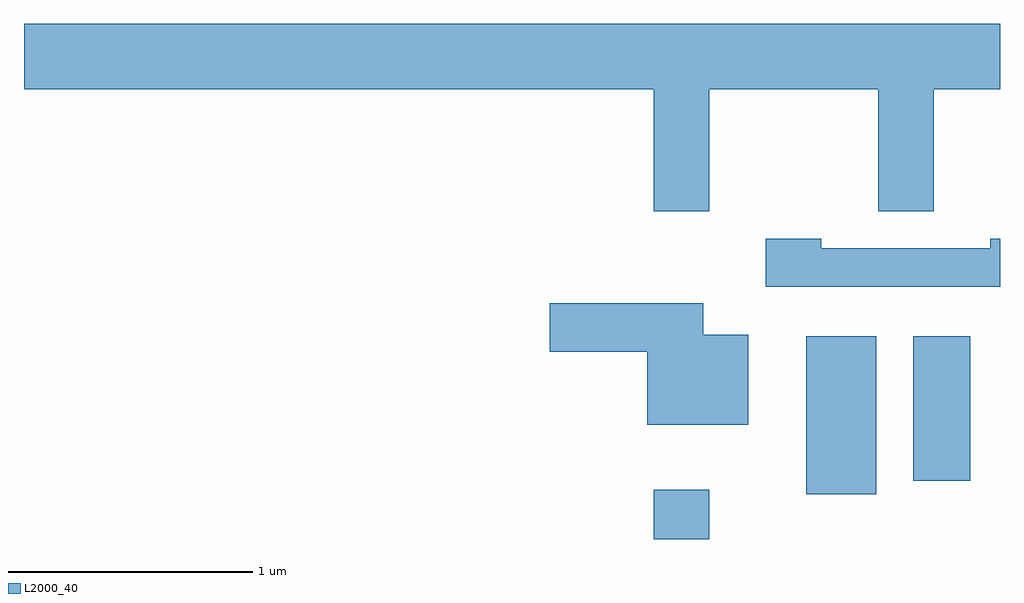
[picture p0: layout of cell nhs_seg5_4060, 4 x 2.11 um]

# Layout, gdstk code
import gdstk
lib = gdstk.Library(unit=1e-6, precision=1e-09)
def R(c, l, rs):  # rectangles x0, y0, x1, y1
    for r in rs: c.add(gdstk.rectangle(r[:2], r[2:], *l))
def P(c, l, *ps):  # polygons
    for p in ps: c.add(gdstk.Polygon(p, *l))
L2000_40 = (2000, 40)

nhs_seg5_4060 = lib.new_cell('nhs_seg5_4060')
R(nhs_seg5_4060, L2000_40, [(308.191,1446.072,308.419,1446.274), (308.816,1446.256,309.104,1446.904), (309.256,1446.311,309.489,1446.904)])
P(nhs_seg5_4060, L2000_40, [(308.419,1447.916),(309.111,1447.916),(309.111,1447.416),(309.339,1447.416),(309.339,1447.916),(309.611,1447.916),(309.611,1448.184),(305.611,1448.184),(305.611,1447.916),(308.191,1447.916),(308.191,1447.416),(308.419,1447.416)],
  [(309.611,1447.304),(309.571,1447.304),(309.571,1447.264),(308.879,1447.264),(308.879,1447.304),(308.651,1447.304),(308.651,1447.106),(309.611,1447.106)],
  [(308.579,1446.909),(308.394,1446.909),(308.394,1447.039),(307.766,1447.039),(307.766,1446.841),(308.166,1446.841),(308.166,1446.541),(308.579,1446.541)])

lib.write_gds('nhs_seg5_4060.gds')
